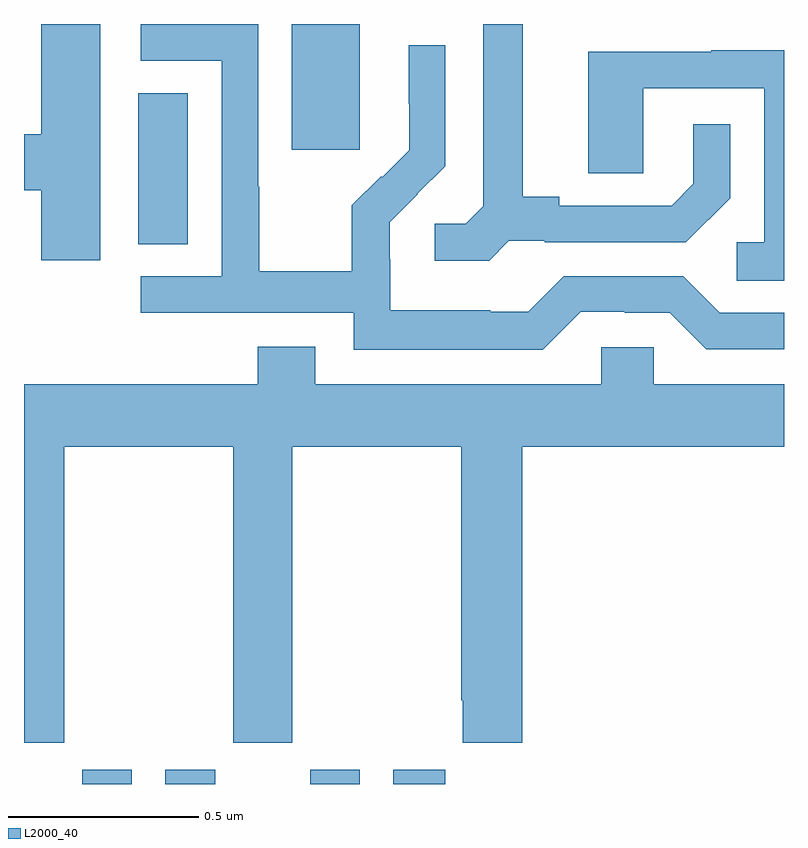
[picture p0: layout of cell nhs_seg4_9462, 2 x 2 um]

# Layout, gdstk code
import gdstk
lib = gdstk.Library(unit=1e-6, precision=1e-09)
def R(c, l, rs):  # rectangles x0, y0, x1, y1
    for r in rs: c.add(gdstk.rectangle(r[:2], r[2:], *l))
def P(c, l, *ps):  # polygons
    for p in ps: c.add(gdstk.Polygon(p, *l))
L2000_40 = (2000, 40)

nhs_seg4_9462 = lib.new_cell('nhs_seg4_9462')
R(nhs_seg4_9462, L2000_40, [(227.153,827.9,227.284,827.938), (227.372,827.9,227.503,827.938), (227.753,827.9,227.884,827.938), (227.972,827.9,228.109,827.938), (227.3,829.321,227.431,829.718), (227.705,829.569,227.884,829.9)])
P(nhs_seg4_9462, L2000_40, [(228.465,829.143),(228.581,829.143),(228.581,829.14),(228.699,829.14),(228.795,829.044),(229,829.044),(229,829.14),(228.831,829.14),(228.735,829.236),(228.42,829.236),(228.327,829.143),(228.227,829.143),(228.227,829.147),(227.964,829.147),(227.964,829.281),(227.962,829.281),(227.962,829.378),(228.036,829.452),(228.035,829.453),(228.108,829.526),(228.108,829.844),(228.012,829.844),(228.012,829.69),(228.014,829.69),(228.014,829.568),(227.943,829.497),(227.94,829.5),(227.863,829.423),(227.863,829.249),(227.619,829.249),(227.619,829.472),(227.616,829.472),(227.616,829.9),(227.307,829.9),(227.307,829.803),(227.52,829.803),(227.52,829.236),(227.307,829.236),(227.307,829.14),(227.868,829.14),(227.868,829.043),(228.365,829.043)],
  [(227.2,829.9),(227.045,829.9),(227.045,829.61),(227,829.61),(227,829.463),(227.045,829.463),(227.045,829.278),(227.2,829.278)],
  [(228.276,829.329),(228.37,829.329),(228.37,829.326),(228.742,829.326),(228.858,829.442),(228.858,829.636),(228.761,829.636),(228.761,829.479),(228.704,829.422),(228.409,829.422),(228.409,829.445),(228.313,829.445),(228.313,829.9),(228.209,829.9),(228.209,829.421),(228.162,829.374),(228.081,829.374),(228.081,829.277),(228.224,829.277)],
  [(229,829.831),(228.809,829.831),(228.809,829.827),(228.485,829.827),(228.485,829.507),(228.63,829.507),(228.63,829.731),(228.948,829.731),(228.948,829.326),(228.876,829.326),(228.876,829.225),(229,829.225)],
  [(227.106,828.788),(227.551,828.788),(227.551,828.009),(227.706,828.009),(227.706,828.788),(228.151,828.788),(228.151,828.121),(228.155,828.121),(228.155,828.009),(228.311,828.009),(228.311,828.788),(229,828.788),(229,828.952),(228.657,828.952),(228.657,829.05),(228.519,829.05),(228.519,828.952),(227.767,828.952),(227.767,829.051),(227.615,829.051),(227.615,828.952),(227,828.952),(227,828.009),(227.106,828.009)])

lib.write_gds('nhs_seg4_9462.gds')
